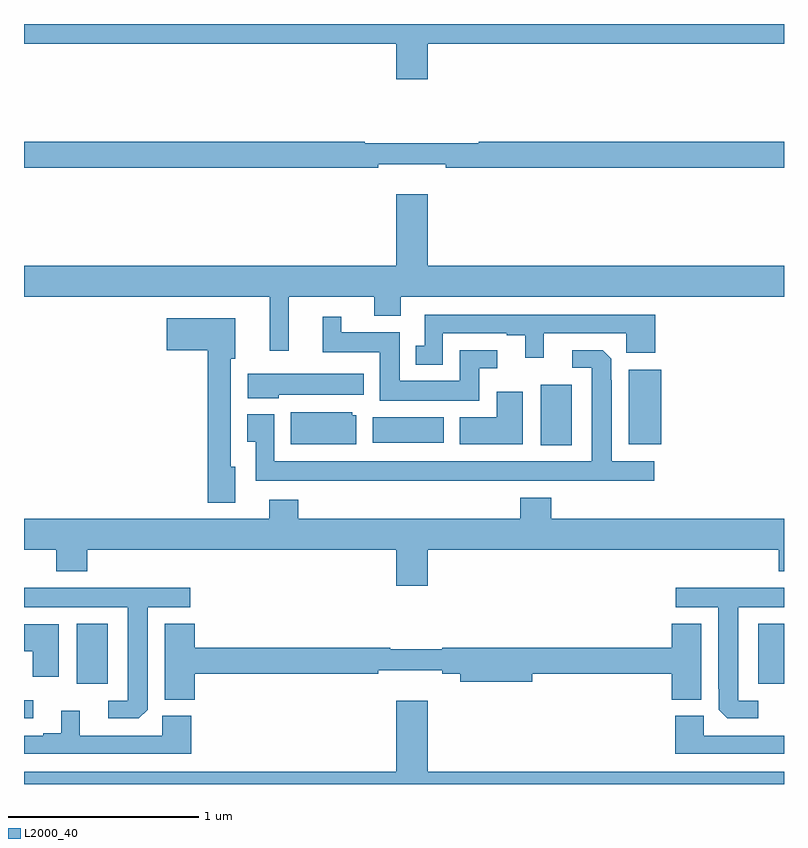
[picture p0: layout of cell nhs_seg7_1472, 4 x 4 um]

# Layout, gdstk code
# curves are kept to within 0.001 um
import gdstk
lib = gdstk.Library(unit=1e-6, precision=1e-09)
def R(c, l, rs):  # rectangles x0, y0, x1, y1
    for r in rs: c.add(gdstk.rectangle(r[:2], r[2:], *l))
def P(c, l, *ps):  # polygons
    for p in ps: c.add(gdstk.Polygon(p, *l))
L2000_40 = (2000, 40)

nhs_seg7_1472 = lib.new_cell('nhs_seg7_1472')
R(nhs_seg7_1472, L2000_40, [(211,1050.345,211.048,1050.441), (211.277,1050.528,211.441,1050.844), (214.865,1050.528,215,1050.844), (213.719,1051.784,213.883,1052.101), (214.184,1051.787,214.355,1052.179), (212.835,1051.796,213.208,1051.93)])
P(nhs_seg7_1472, L2000_40, [(213.124,1053.896),(215,1053.896),(215,1054),(211,1054),(211,1053.896),(212.96,1053.896),(212.96,1053.708),(213.124,1053.708)],
  [(212.864,1053.263),(213.22,1053.263),(213.22,1053.244),(215,1053.244),(215,1053.38),(213.394,1053.38),(213.394,1053.373),(212.794,1053.373),(212.794,1053.38),(211,1053.38),(211,1053.244),(212.864,1053.244)],
  [(212.983,1052.564),(215,1052.564),(215,1052.728),(213.124,1052.728),(213.124,1053.103),(212.96,1053.103),(212.96,1052.728),(211,1052.728),(211,1052.564),(212.294,1052.564),(212.294,1052.28),(212.393,1052.28),(212.393,1052.564),(212.843,1052.564),(212.843,1052.465),(212.983,1052.465)],
  [(213.204,1052.373),(213.542,1052.373),(213.542,1052.361),(213.638,1052.361),(213.638,1052.244),(213.736,1052.244),(213.736,1052.373),(214.17,1052.373),(214.17,1052.27),(214.322,1052.27),(214.322,1052.469),(213.108,1052.469),(213.108,1052.307),(213.062,1052.307),(213.062,1052.207),(213.204,1052.207)],
  [(213.397,1052.187),(213.49,1052.187),(213.49,1052.283),(213.293,1052.283),(213.293,1052.122),(212.977,1052.122),(212.977,1052.377),(212.671,1052.377),(212.671,1052.458),(212.573,1052.458),(212.573,1052.273),(212.873,1052.273),(212.873,1052.018),(213.397,1052.018)],
  [(212.113,1051.671),(212.089,1051.671),(212.089,1052.238),(212.113,1052.238),(212.113,1052.452),(211.752,1052.452),(211.752,1052.282),(211.967,1052.282),(211.967,1051.481),(212.113,1051.481)],
  [(214.318,1051.699),(214.093,1051.699),(214.092,1052.237),(214.046,1052.283),(213.885,1052.283),(213.885,1052.19),(213.989,1052.19),(213.989,1051.699),(212.316,1051.699),(212.316,1051.945),(212.174,1051.945),(212.174,1051.801),(212.219,1051.801),(212.219,1051.595),(214.318,1051.595)],
  [(212.34,1052.048),(212.788,1052.048),(212.788,1052.158),(212.178,1052.158),(212.178,1052.03),(212.34,1052.03)],
  [(213.625,1052.065),(213.488,1052.065),(213.488,1051.93),(213.293,1051.93),(213.293,1051.787),(213.625,1051.787)],
  [(212.749,1051.941),(212.727,1051.941),(212.727,1051.957),(212.405,1051.957),(212.405,1051.787),(212.749,1051.787)],
  [(213.124,1051.232),(214.973,1051.232),(214.973,1051.121),(215,1051.121),(215,1051.396),(213.776,1051.396),(213.776,1051.507),(213.611,1051.507),(213.611,1051.396),(212.444,1051.396),(212.444,1051.495),(212.291,1051.495),(212.291,1051.396),(211,1051.396),(211,1051.232),(211.169,1051.232),(211.169,1051.121),(211.334,1051.121),(211.334,1051.232),(212.96,1051.232),(212.96,1051.044),(213.124,1051.044)],
  [(211.65,1050.391),(211.651,1050.929),(211.876,1050.929),(211.876,1051.033),(211,1051.033),(211,1050.929),(211.547,1050.929),(211.547,1050.438),(211.443,1050.438),(211.443,1050.345),(211.604,1050.345)],
  [(214.864,1050.438),(214.759,1050.438),(214.759,1050.929),(215,1050.929),(215,1051.033),(214.431,1051.033),(214.431,1050.929),(214.655,1050.929),(214.656,1050.391),(214.702,1050.345),(214.864,1050.345)],
  [(211.898,1050.58),(212.864,1050.58),(212.864,1050.599),(213.2,1050.599),(213.2,1050.58),(213.296,1050.58),(213.296,1050.538),(213.676,1050.538),(213.676,1050.58),(214.409,1050.58),(214.409,1050.443),(214.564,1050.443),(214.564,1050.844),(214.409,1050.844),(214.409,1050.716),(213.2,1050.716),(213.2,1050.709),(212.927,1050.709),(212.927,1050.716),(211.898,1050.716),(211.898,1050.844),(211.742,1050.844),(211.742,1050.443),(211.898,1050.443)],
  [(211.183,1050.841),(211,1050.841),(211,1050.698),(211.046,1050.698),(211.046,1050.564),(211.183,1050.564)],
  [(215,1050.064),(213.124,1050.064),(213.124,1050.439),(212.96,1050.439),(212.96,1050.064),(211,1050.064),(211,1050),(215,1050)],
  [(211.88,1050.358),(211.728,1050.358),(211.728,1050.255),(211.294,1050.255),(211.294,1050.385),(211.196,1050.385),(211.196,1050.268),(211.1,1050.268),(211.1,1050.255),(211,1050.255),(211,1050.159),(211.88,1050.159)],
  [(215,1050.255),(214.578,1050.255),(214.578,1050.358),(214.427,1050.358),(214.427,1050.159),(215,1050.159)])

lib.write_gds('nhs_seg7_1472.gds')
